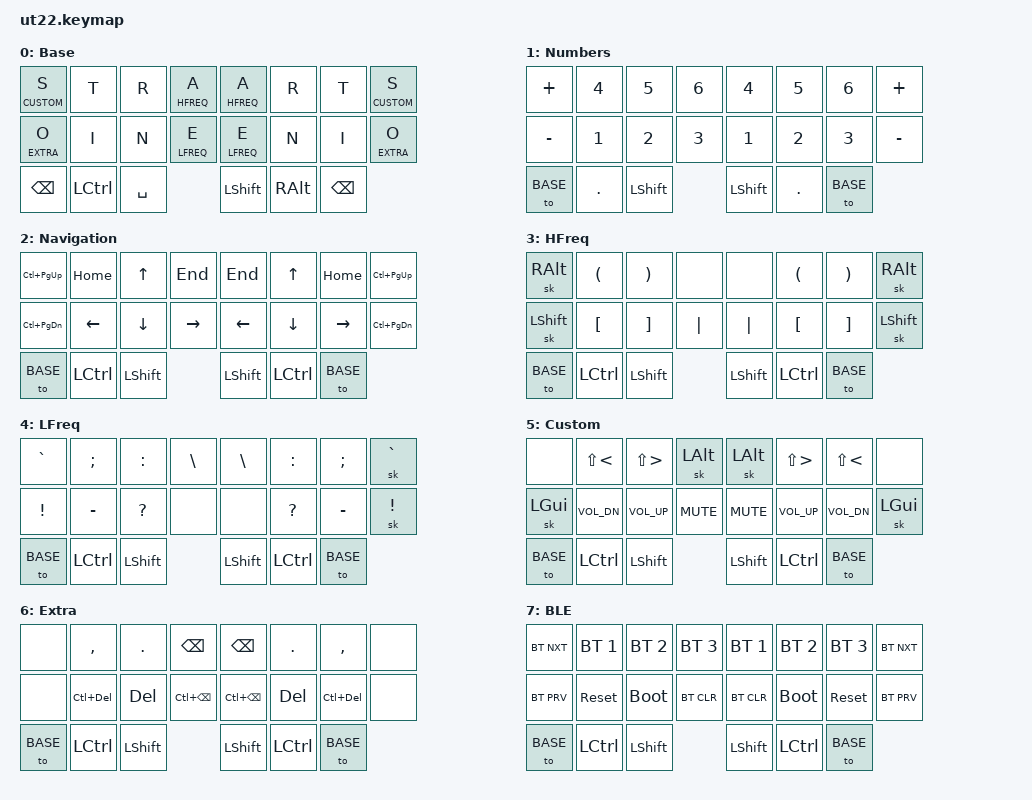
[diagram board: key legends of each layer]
/*
 * SPDX-License-Identifier: MIT
 */

#include <behaviors.dtsi>
#include <dt-bindings/zmk/keys.h>
#include <dt-bindings/zmk/bt.h>
#include <dt-bindings/zmk/outputs.h>


// LAYERS
// ====================================================
#define BASE    	0
#define NUMBERS 	1
#define NAVIGATION 	2
#define HFREQ 		3
#define LFREQ 		4
#define CUSTOM 		5
#define EXTRA		6
#define BLE		7


// Using layer taps on thumbs, having quick tap as well helps w/ repeating space/backspace
&lt { quick_tap_ms = <200>; };
// Sticky Layer Behavior - release sticky behavior after x ms
&sk { release-after-ms = <1800>; };

// TAIPO DEFINITIONS (use in conjunction with TAIPO COMBOS)
// ====================================================
// ZMK forces you to define combos in terms of HW key positions
/*
	.-----------------------------------------------------------.
	|  0  |  1  |  2  |  3  |           |  4  |  5  |  6  |  7  |
	|  8  |  9  |  10 |  11 |           |  12 |  13 |  14 |  15 |
	|  16 |-----|  17 |  18 |           |  19 |  20 |-----|  21 |
	'-----'     '-----------------------------------'     '-----'
*/
// {Top,Bottom}{Left,Right}{Index,Middle,Ring,Pinky}

// LEFT SIDE
// Top
#define LTI 3  // Index
#define LTM 2  // Middle
#define LTR 1  // Ring
#define LTP 0  // Pinky
// Bottom
#define LBI 11 // Index
#define LBM 10 // Middle
#define LBR 9  // Ring
#define LBP 8  // Pinky

// RIGHT SIDE
// Top
#define RTI 4  // Index
#define RTM 5  // Middle
#define RTR 6  // Ring
#define RTP 7  // Pinky
// Bottom
#define RBI 12 // Index
#define RBM 13 // Middle
#define RBR 14 // Ring
#define RBP 15 // Pinky

// BEHAVIOR
// ====================================================

/{
	behaviors {
		// Enables holding the first mod-tap key
		// by performing a tap-release-hold sequence.
		// To use it: "&qt KEYCODE1 KEYCODE2"
		qt: quick_tap {
			compatible = "zmk,behavior-hold-tap";
			label = "QUICK_TAP";
			#binding-cells = <2>;
			flavor = "hold-preferred";
			tapping-term-ms = <200>;
			quick-tap-ms = <200>;
			bindings = <&kp>, <&kp>;
		};
	};


// COMBOS
// ====================================================
/*
	.-----------------------------------------------------------.
	|  0  |  1  |  2  |  3  |           |  4  |  5  |  6  |  7  |
	|  8  |  9  |  10 |  11 |           |  12 |  13 |  14 |  15 |
	|  16 |-----|  17 |  18 |           |  19 |  20 |-----|  21 |
	'-----'     '-----------------------------------'     '-----'
*/
// ARTSEY COMBOS
// name of the combo, output of the combo, input for the combo, applied on which layers
	#define COMBO(NAME, BINDINGS, KEYPOS, LAYER) \
	combo_##NAME { \
		timeout-ms = <120>; \
		bindings = <BINDINGS>; \
		key-positions = <KEYPOS>; \
		layers = <LAYER>; \
	};

   combos {
        compatible = "zmk,combos";
		// LEFT SIDE
		/***************
		* 2 key combos
		****************/
		COMBO(L1,&kp ENTER,LTI LBI,0 1 2 3 4 5 6)		// ENTER
		COMBO(L2,&sk LCTRL,LBI LTP, 0 1 2 3 4 5 6)		// LCTRL *oneshot
		COMBO(L3,&sk LGUI,LBM LTP, 0 1 2 3 4 5 6)		// LGUI  *oneshot
		COMBO(L4,&sk RALT,LBR LTP, 0 1 2 3 4 5 6)		// RALT  *oneshot
		COMBO(L5,&kp BACKSPACE,LBI LTM, 0 1 2 3 4 5 6)		// BACKSPACE
		COMBO(L6,&kp DELETE,LBR LTM, 0 1 2 3 4 5 6)		// DELETE
		COMBO(L7,&kt LSHFT,LBM LTM, 0 1 2 3 4 5 6)		// LSHIFT #toggle

		COMBO(L8,&kp B,LBI LBP, 0)				// B
		COMBO(L9,&kp C,LBI LBM, 0)				// C
		COMBO(L10,&kp BACKSPACE,LBP LBR, 0)				// ** change N to BACKSPACE
		COMBO(L11,&kp F,LTM LTI, 0)				// F
		COMBO(L12,&kp G,LTR LTM, 0)				// G
		COMBO(L13,&kp U,LBR LBM, 0)				// U
		COMBO(L14,&kp H,LBI LBR, 0)				// H
		COMBO(L15,&kp V,LTP LTM, 0)				// V
		COMBO(L16,&kp J,LTP LTR, 0)				// J
		COMBO(L17,&kp W,LTP LTI, 0)				// W
		COMBO(L18,&kp K,LBP LBM, 0)				// K

		COMBO(L19,&kp PERIOD,LBM LTI, 0 1)			// PERIOD
		COMBO(L20,&kp COMMA,LBR LTI, 0 1)			// COMMA
		COMBO(L21,&kp SLASH,LBP LTI, 0 1)			// SLASH
		COMBO(L22,&kp EXCL,LTR LBR, 0 1)				// EXCLAMATION

		COMBO(L23,&kp N7,LTR LTM, 1)				// 7
		COMBO(L24,&kp N8,LTM LTI, 1)				// 8
		COMBO(L25,&kp N9,LBR LBM, 1)				// 9
		COMBO(L26,&kp N0,LBM LBI, 1)				// 0

		/***************
		* 3 key combos
		****************/
		COMBO(L27,&kp ESC,LTI LTM LBP,0 1 2 3 4 5 6)			// ESC
		COMBO(L28,&to NAVIGATION,LBR LTM LBI,0 1 2 3 4 5 6)		// LAYER: NAVIGATION >to
		COMBO(L29,&kp CAPS,LBP LTR LBM,0 1 2 3 4 5 6)			// CAPS

		COMBO(L30,&kp M,LBP LBR LBM,0)
		COMBO(L31,&kp D,LTR LTM LTI,0)
		COMBO(L32,&kp P,LBP LBR LBI,0)
		COMBO(L33,&kp Q,LTP LTR LTI,0)
		COMBO(L34,&kp X,LTP LTR LTM,0)
		COMBO(L35,&kp L,LBR LBM LBI,0)
		COMBO(L36,&kp SQT,LBR LBM LTI,0)

		/***************
		* 4 key combos
		****************/
		COMBO(L37,&kp Y,LBP LBR LBM LBI,0)				// Y
		COMBO(L38,&kp Z,LTP LTR LTM LTI,0)				// Z

		COMBO(L39,&kp TAB,LBP LTR LTM LTI,0 1 2 3 4 5 6)			// TAB
		COMBO(L40,&to BASE,LTP LTR LTM LBI,0 1 2 3 4 5 6)		// LAYER: BASE >to
		COMBO(L41,&tog BLE,LTP LBP LTI LBI,0 1 2 3 4 5 6)		// LAYER: BLUETOOTH #toggle
		COMBO(L42,&to NUMBERS,LTR LTM LBR LBM,0 1 2 3 4 5 6)		// LAYER: NUMBERS >to
		COMBO(L43,&to BASE,LTP LTR LBP LBR,0 1 2 3 4 5 6)		// LAYER: BASE (Fallback) >to

		// RIGHT SIDE
		/***************
		* 2 key combos
		****************/
		COMBO(R1,&kp ENTER,RTI RBI,0 1 2 3 4 5 6)		// ENTER
		COMBO(R2,&sk LCTRL,RBI RTP, 0 1 2 3 4 5 6)		// LCTRL *oneshot
		COMBO(R3,&sk LGUI,RBM RTP, 0 1 2 3 4 5 6)		// LGUI  *oneshot
		COMBO(R4,&sk RALT,RBR RTP, 0 1 2 3 4 5 6)		// RALT  *oneshot
		COMBO(R5,&kp BACKSPACE,RBI RTM, 0 1 2 3 4 5 6)		// BACKSPACE
		COMBO(R6,&kp DELETE,RBR RTM, 0 1 2 3 4 5 6)		// DELETE
		COMBO(R7,&kt LSHFT,RBM RTM, 0 1 2 3 4 5 6)		// LSHIFT #toggle

		COMBO(R8,&kp B,RBI RBP, 0)				// B
		COMBO(R9,&kp C,RBI RBM, 0)				// C
		COMBO(R10,&kp BACKSPACE,RBP RBR, 0)			// ** change N to BACKSPACE
		COMBO(R11,&kp F,RTM RTI, 0)				// F
		COMBO(R12,&kp G,RTR RTM, 0)				// G
		COMBO(R13,&kp U,RBR RBM, 0)				// U
		COMBO(R14,&kp H,RBI RBR, 0)				// H
		COMBO(R15,&kp V,RTP RTM, 0)				// V
		COMBO(R16,&kp J,RTP RTR, 0)				// J
		COMBO(R17,&kp W,RTP RTI, 0)				// W
		COMBO(R18,&kp K,RBP RBM, 0)				// K

		COMBO(R19,&kp PERIOD,RBM RTI, 0 1)			// PERIOD
		COMBO(R20,&kp COMMA,RBR RTI, 0 1)			// COMMA
		COMBO(R21,&kp SLASH,RBP RTI, 0 1)			// SLASH
		COMBO(R22,&kp EXCL,RTR RBR, 0 1)				// EXCLAMATION

		COMBO(R23,&kp N7,RTR RTM, 1)				// 7
		COMBO(R24,&kp N8,RTM RTI, 1)				// 8
		COMBO(R25,&kp N9,RBR RBM, 1)				// 9
		COMBO(R26,&kp N0,RBM RBI, 1)				// 0

		/***************
		* 3 key combos
		****************/
		COMBO(R27,&kp ESC,RTI RTM RBP,0 1 2 3 4 5 6)			// ESC
		COMBO(R28,&to NAVIGATION,RBR RTM RBI,0 1 2 3 4 5 6)		// LAYER: NAVIGATION >to
		COMBO(R29,&kp CAPS,RBP RTR RBM,0 1 2 3 4 5 6)			// CAPS

		COMBO(R0,&kp M,RBP RBR RBM,0)				// M
		COMBO(R31,&kp D,RTR RTM RTI,0)				// D
		COMBO(R32,&kp P,RBP RBR RBI,0)				// P
		COMBO(R33,&kp Q,RTP RTR RTI,0)				// Q
		COMBO(R34,&kp X,RTP RTR RTM,0)				// X
		COMBO(R35,&kp L,RBR RBM RBI,0)				// L
		COMBO(R36,&kp SQT,RBR RBM RTI,0)

		/***************
		* 4 key combos
		****************/
		COMBO(R37,&kp Y,RBP RBR RBM RBI,0)				// Y
		COMBO(R38,&kp Z,RTP RTR RTM RTI,0)				// Z

		COMBO(R39,&kp TAB,RBP RTR RTM RTI,0 1 2 3 4 5 6)			// TAB
		COMBO(R40,&to BASE,RTP RTR RTM RBI,0 1 2 3 4 5 6)		// LAYER: BASE >to
		COMBO(R41,&tog BLE,RTP RBP RTI RBI,0 1 2 3 4 5 6)		// LAYER: BLUETOOTH #toggle
		COMBO(R42,&to NUMBERS,RTR RTM RBR RBM,0 1 2 3 4 5 6)		// LAYER: NUMBERS >to
		COMBO(R43,&to BASE,RTP RTR RBP RBR,0 1 2 3 4 5 6)		// LAYER: BASE (Fallback) >to
   };

// KEYMAP
// ====================================================

/*  0 = Base
	.-----------------------------------------------------------.
	|  S  |  T  |  R  |  A  |           |  A  |  R  |  T  |  S  |
	|  O  |  I  |  N  |  E  |           |  E  |  N  |  I  |  O  |
	| RALT|-----| SPC |LSHFT|           |LSHFT| SPC |-----| RALT|
	'-----'     '-----------------------------------'     '-----'
*/
	keymap {
		compatible = "zmk,keymap";

		// LAYER: BASE 0
		default_layer {
			label = "Base";
			bindings = <
			&lt CUSTOM S	&kp T       &kp R       &lt HFREQ A    &lt HFREQ A &kp R      	&kp T       &lt CUSTOM S
			&lt EXTRA O	&kp I       &kp N	&lt LFREQ E    &lt LFREQ E &kp N  	&kp I       &lt EXTRA O
			&kp BACKSPACE               &kp LCTRL   &kp SPACE      &kp LSHIFT  &kp RALT		    &kp BACKSPACE
			>;
		};

// -----------------------------------------------------------------------------

/*  1 = Numbers
	.-----------------------------------------------------------.
	|  0  |  1  |  2  |  3  |           |  4  |  5  |  6  |  7  |
	|  8  |  9  |  10 |  11 |           |  12 |  13 |  14 |  15 |
	|  16 |-----|  17 |  18 |           |  19 |  20 |-----|  21 |
	'-----'     '-----------------------------------'     '-----'
*/
        // LAYER: NUMBERS 1
		numbers_layer {
			label = "Numbers";
			bindings = <
			&kp PLUS    &kp N4      &kp N5      &kp N6         &kp N4      &kp N5      &kp N6      &kp PLUS
			&kp MINUS   &kp N1      &kp N2      &kp N3         &kp N1      &kp N2      &kp N3      &kp MINUS
			&to BASE                &kp PERIOD  &kp LSHIFT     &kp LSHIFT  &kp PERIOD              &to BASE     
			>;
		};
// -----------------------------------------------------------------------------

/*  2 = Navigation
	.-----------------------------------------------------------.
	|  0  |  1  |  2  |  3  |           |  4  |  5  |  6  |  7  |
	|  8  |  9  |  10 |  11 |           |  12 |  13 |  14 |  15 |
	|  16 |-----|  17 |  18 |           |  19 |  20 |-----|  21 |
	'-----'     '-----------------------------------'     '-----'
*/
        // LAYER: NAVIGATION 2
		navigation_layer {
			label = "Navigation";
			bindings = <
			&kp LC(PG_UP) &kp HOME  &kp UP      &kp END        &kp END     &kp UP      &kp HOME    &kp LC(PG_UP)
			&kp LC(PG_DN) &kp LEFT  &kp DOWN    &kp RIGHT      &kp LEFT    &kp DOWN    &kp RIGHT   &kp LC(PG_DN)
			&to BASE                &kp LCTRL   &kp LSHIFT     &kp LSHIFT  &kp LCTRL               &to BASE     
			>;
		};
// -----------------------------------------------------------------------------

/*  3 = High Frequency
	.-----------------------------------------------------------.
	|  0  |  1  |  2  |  3  |           |  4  |  5  |  6  |  7  |
	|  8  |  9  |  10 |  11 |           |  12 |  13 |  14 |  15 |
	|  16 |-----|  17 |  18 |           |  19 |  20 |-----|  21 |
	'-----'     '-----------------------------------'     '-----'
*/
        // LAYER: HFREQ 3
		hfreq_layer {
			label = "HFreq";
			bindings = <
			&sk RALT    &kp LPAR  &kp RPAR    &none        &none       &kp LPAR    &kp RPAR   &sk RALT 
			&sk LSHFT   &kp LBKT  &kp RBKT    &kp PIPE     &kp PIPE    &kp LBKT    &kp RBKT   &sk LSHFT
			&to BASE              &kp LCTRL   &kp LSHIFT   &kp LSHIFT  &kp LCTRL              &to BASE     
			>;
		};
// -----------------------------------------------------------------------------

/*  4 = Low Frequency
	.-----------------------------------------------------------.
	|  0  |  1  |  2  |  3  |           |  4  |  5  |  6  |  7  |
	|  8  |  9  |  10 |  11 |           |  12 |  13 |  14 |  15 |
	|  16 |-----|  17 |  18 |           |  19 |  20 |-----|  21 |
	'-----'     '-----------------------------------'     '-----'
*/
        // LAYER: LFREQ 4
		lfreq_layer {
			label = "LFreq";
			bindings = <
			&kp GRAVE   &kp SEMI    &kp COLON   &kp BSLH    &kp BSLH    &kp COLON   &kp SEMI   &sk GRAVE 
			&kp EXCL    &kp MINUS   &kp QMARK   &none       &none       &kp QMARK   &kp MINUS  &sk EXCL
			&to BASE              &kp LCTRL   &kp LSHIFT    &kp LSHIFT  &kp LCTRL              &to BASE     
			>;
		};
// -----------------------------------------------------------------------------

/*  5 = Media
	.-----------------------------------------------------------.
	|  0  |  1  |  2  |  3  |           |  4  |  5  |  6  |  7  |
	|  8  |  9  |  10 |  11 |           |  12 |  13 |  14 |  15 |
	|  16 |-----|  17 |  18 |           |  19 |  20 |-----|  21 |
	'-----'     '-----------------------------------'     '-----'
*/
        // LAYER: CUSTOM 5
		custom_layer {
			label = "Custom";
			bindings = <
			&none  		&kp LS(LT)    	&kp LS(GT)     	&sk LALT        &sk LALT    &kp LS(GT)   &kp LS(LT)     &none
			&sk LGUI	&kp C_VOL_DN    &kp C_VOL_UP    &kp C_MUTE      &kp C_MUTE  &kp C_VOL_UP &kp C_VOL_DN   &sk LGUI
			&to BASE                    &kp LCTRL       &kp LSHIFT      &kp LSHIFT  &kp LCTRL                   &to BASE     
			>;
		};
// -----------------------------------------------------------------------------

/*  6 = Extras
	.-----------------------------------------------------------.
	|  0  |  1  |  2  |  3  |           |  4  |  5  |  6  |  7  |
	|  8  |  9  |  10 |  11 |           |  12 |  13 |  14 |  15 |
	|  16 |-----|  17 |  18 |           |  19 |  20 |-----|  21 |
	'-----'     '-----------------------------------'     '-----'
*/
        // LAYER: EXTRA 6
		extra_layer {
			label = "Extra";
			bindings = <
			&none		&kp COMMA  	    &kp PERIOD	&kp BACKSPACE           &kp BACKSPACE       &kp PERIOD    &kp COMMA     &none
			&none 		&kp LC(DEL) 	&kp DEL 	&kp LC(BACKSPACE)       &kp LC(BACKSPACE)   &kp DEL       &kp LC(DEL)   &none
			&to BASE                    &kp LCTRL   &kp LSHIFT              &kp LSHIFT  &kp LCTRL                           &to BASE     
			>;
		};
// -----------------------------------------------------------------------------

/*  7 = Bluetooth
	.-----------------------------------------------------------.
	|  0  |  1  |  2  |  3  |           |  4  |  5  |  6  |  7  |
	|  8  |  9  |  10 |  11 |           |  12 |  13 |  14 |  15 |
	|  16 |-----|  17 |  18 |           |  19 |  20 |-----|  21 |
	'-----'     '-----------------------------------'     '-----'
*/
        // LAYER: BLUETOOTH 7
		ble_layer {
			label = "BLE";
			bindings = <
			&bt BT_NXT       &bt BT_SEL 1   &bt BT_SEL 2     &bt BT_SEL 3     &bt BT_SEL 1     &bt BT_SEL 2    &bt BT_SEL 3    &bt BT_NXT
			&bt BT_PRV       &sys_reset    	&bootloader	 &bt BT_CLR           &bt BT_CLR       &bootloader     &sys_reset      &bt BT_PRV 
			&to BASE                        &kp LCTRL   &kp LSHIFT            &kp LSHIFT       &kp LCTRL                       &to BASE     
			>;
		};
// -----------------------------------------------------------------------------

// -----------------------------------------------------------------------------
    };
};
